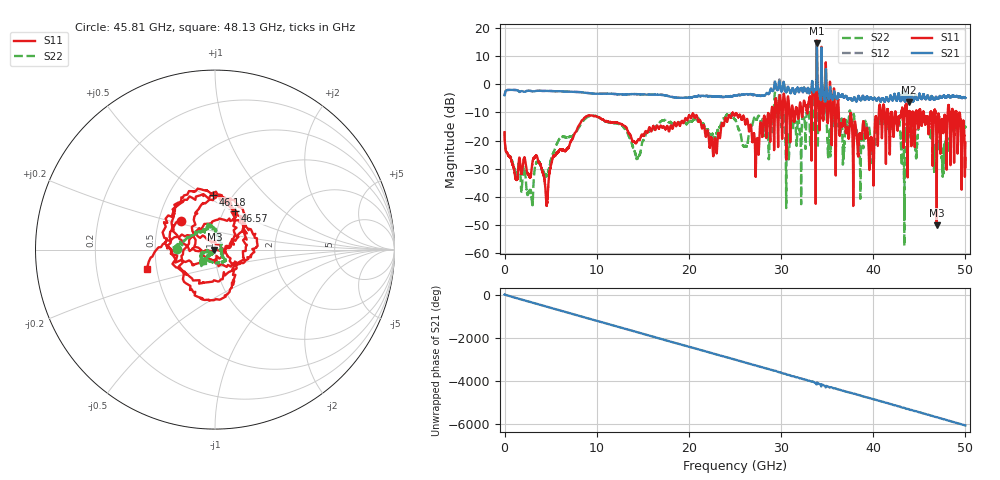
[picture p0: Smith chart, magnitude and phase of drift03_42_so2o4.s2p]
!Created with skrf (http://scikit-rf.org).
# Hz S RI R 50.0
!freq ReS11 ImS11 ReS21 ImS21 ReS12 ImS12 ReS22 ImS22
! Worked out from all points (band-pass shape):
!   10001 points, 300 kHz to 50 GHz, reference 50 ohm
!   highest |S21| = 14.52 dB at 33.88 GHz (marker M1); lowest = -6.2 dB at 43.91 GHz (marker M2)
!   |S21| within 3 dB of the highest: 33.86965 GHz to 33.88823 GHz (18.58 MHz wide, 0.0548 % of centre); 34.37705 GHz to 34.38906 GHz (12.01 MHz wide, 0.0349 % of centre)
!   lowest |S11| = -50.0 dB at 46.89 GHz (marker M3), VSWR 1.01, Z = 49.7 - j0.0437 ohm
!   |S11| at or under -10 dB: start of sweep to 28.94 GHz; 36.27 GHz to 40.6 GHz (4.338 GHz wide, 11.3 % of centre); 46.74 GHz to 48.08 GHz (1.337 GHz wide, 2.82 % of centre)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
!   |S22| runs from -57.4 to 11.2 dB; largest |S21 - S12| = 0.83
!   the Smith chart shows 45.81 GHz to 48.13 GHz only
!   S11 on the Smith chart (normalised r, x): 45.81 GHz: 0.65, +0.22; 46.18 GHz: 0.81, +0.54; 46.57 GHz: 1.12, +0.51; 48.13 GHz: 0.44, -0.11
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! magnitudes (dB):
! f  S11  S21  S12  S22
! 300 kHz  -17.0  -4.0  -4.0  -16.9
! 2.82 GHz  -32.7  -2.4  -2.4  -38.0
! 4.565 GHz  -42.8  -2.3  -2.3  -32.2
! 8.335 GHz  -13.1  -2.8  -2.8  -13.9
! 14.43 GHz  -20.0  -3.5  -3.5  -26.2
! 16.67 GHz  -15.4  -3.7  -3.7  -14.3
! 22.82 GHz  -19.3  -4.3  -4.3  -19.1
! 25 GHz  -11.0  -4.0  -4.0  -12.5
! 27.39 GHz  -19.4  -4.1  -4.1  -12.4
! 29.6 GHz  -10.5  -2.0  -2.1  -11.7
! 30.7 GHz  -5.7  -1.4  -1.5  -17.2
! 33.34 GHz  -13.7  -0.4  -0.5  -7.2
! 33.88 GHz  15.5  14.5  14.2  11.0
! 39.81 GHz  -19.0  -4.9  -4.8  -23.0
! 41.67 GHz  -12.1  -6.0  -5.9  -15.2
! 43.91 GHz  -9.8  -6.2  -6.2  -16.6
! 45.81 GHz  -12.1  -4.7  -4.7  -13.4
! 46.18 GHz  -10.3  -5.4  -5.4  -18.1
! 46.57 GHz  -12.3  -5.3  -5.2  -27.9
! 46.89 GHz  -50.0  -4.9  -4.8  -22.5
! 48.13 GHz  -8.1  -4.1  -4.0  -20.8
! 50 GHz  -20.7  -4.8  -4.9  -15.2
